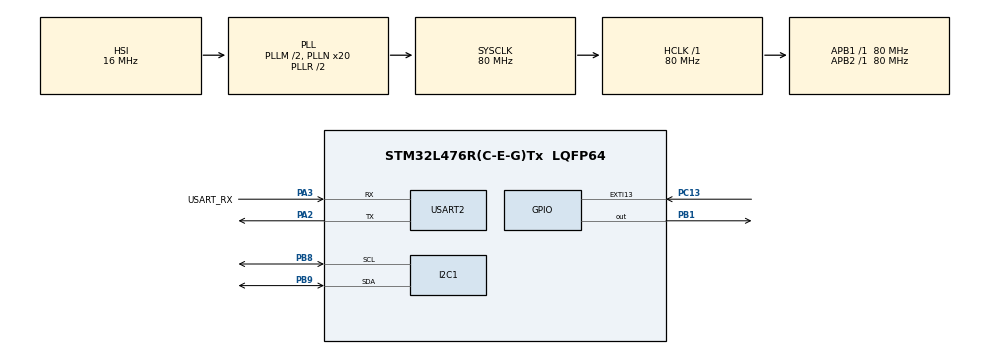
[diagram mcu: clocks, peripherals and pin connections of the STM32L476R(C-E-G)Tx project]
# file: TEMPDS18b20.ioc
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I2C1.Timing=0x10D19CE4
Mcu.Family=STM32L4
Mcu.Name=STM32L476R(C-E-G)Tx
Mcu.Package=LQFP64
NVIC.EXTI15_10_IRQn=true\:1\:0\:true\:false\:true\:true\:true\:true
NVIC.PriorityGroup=NVIC_PRIORITYGROUP_4
PA14\ (JTCK-SWCLK).GPIO_Label=TCK
PA14\ (JTCK-SWCLK).Signal=SYS_JTCK-SWCLK
PA2.Mode=Asynchronous
PA2.Signal=USART2_TX
PA3.GPIO_Label=USART_RX
PA3.GPIO_Mode=GPIO_MODE_AF_PP
PA3.GPIO_PuPd=GPIO_NOPULL
PA3.GPIO_Speed=GPIO_SPEED_FREQ_VERY_HIGH
PA3.Mode=Asynchronous
PA3.Signal=USART2_RX
PB1.Signal=GPIO_Output
PB3\ (JTDO-TRACESWO).GPIO_Label=SWO
PB3\ (JTDO-TRACESWO).Signal=SYS_JTDO-SWO
PB8.Mode=I2C
PB8.Signal=I2C1_SCL
PB9.Mode=I2C
PB9.Signal=I2C1_SDA
PC13.Signal=GPXTI13
ProjectManager.HeapSize=0x200
ProjectManager.StackSize=0x400
ProjectManager.TargetToolchain=STM32CubeIDE
RCC.ADCFreq_Value=32000000
RCC.AHBFreq_Value=80000000
RCC.APB1Freq_Value=80000000
RCC.APB1TimFreq_Value=80000000
RCC.APB2Freq_Value=80000000
RCC.APB2TimFreq_Value=80000000
RCC.CortexFreq_Value=80000000
RCC.HCLKFreq_Value=80000000
RCC.HSE_VALUE=8000000
RCC.HSI_VALUE=16000000
RCC.LSE_VALUE=32768
RCC.MSI_VALUE=4000000
RCC.PLLM=2
RCC.PLLN=20
RCC.PLLSourceVirtual=RCC_PLLSOURCE_HSI
RCC.PREFETCH_ENABLE=1
RCC.SYSCLKFreq_VALUE=80000000
RCC.SYSCLKSource=RCC_SYSCLKSOURCE_PLLCLK
RCC.USBFreq_Value=32000000
RCC.VCOOutputFreq_Value=160000000
USART2.VirtualMode-Asynchronous=VM_ASYNC
board=NUCLEO-L476RG

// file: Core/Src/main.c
/* USER CODE BEGIN Header */
/**
  ******************************************************************************
  * @file           : main.c
  * @brief          : Main program body
  ******************************************************************************
  * @attention
  *
  * Copyright (c) 2025 STMicroelectronics.
  * All rights reserved.
  *
  * This software is licensed under terms that can be found in the LICENSE file
  * in the root directory of this software component.
  * If no LICENSE file comes with this software, it is provided AS-IS.
  *
  ******************************************************************************
  */
/* USER CODE END Header */
#include "main.h"

/* USER CODE BEGIN Includes */
#include "main.h"
#include <stdio.h>
#include <string.h>
#include "liquidcrystal_i2c.h"

/* USER CODE END Includes */

/* USER CODE BEGIN PD */
#define DS_PORT GPIOB
#define DS_PIN  GPIO_PIN_1
/* USER CODE END PD */

/* USER CODE BEGIN PM */
uint8_t measure_flag = 0;
/* USER CODE END PM */

I2C_HandleTypeDef hi2c1;

UART_HandleTypeDef huart2;

/* USER CODE BEGIN PV */
char uart_rx_buffer[100]; // Buffer for received data
/* USER CODE END PV */

void SystemClock_Config(void);
static void MX_GPIO_Init(void);
static void MX_USART2_UART_Init(void);
static void MX_I2C1_Init(void);

/* USER CODE BEGIN 0 */

void UART_SEND_TXT(UART_HandleTypeDef *huart, char buffer[], int m) {
	HAL_UART_Transmit(huart, (uint8_t*) buffer, strlen(buffer), HAL_MAX_DELAY);
	if (m == 1) {
		const char crlf[] = "\r\n";
		HAL_UART_Transmit(huart, (uint8_t*) crlf, 2, HAL_MAX_DELAY);
	}
}

void UART_SEND_FLT(UART_HandleTypeDef *huart, float p, int m)
{
	char buffer[10];
	 sprintf(buffer, "%f", p);
	 HAL_UART_Transmit(huart, (uint8_t*) buffer, strlen(buffer), HAL_MAX_DELAY);
	 if (m == 1) {
	 		const char crlf[] = "\r\n";
	 		HAL_UART_Transmit(huart, (uint8_t*) crlf, 2, HAL_MAX_DELAY);
	 	}
}

void delay_us(uint16_t us) {
    uint32_t start = DWT->CYCCNT;
    uint32_t ticks = us * (HAL_RCC_GetHCLKFreq() / 1000000);
    while ((DWT->CYCCNT - start) < ticks);
}

void DWT_Init(void) {
    CoreDebug->DEMCR |= CoreDebug_DEMCR_TRCENA_Msk;
    DWT->CTRL |= DWT_CTRL_CYCCNTENA_Msk;
}

// --- 1-Wire функции ---
uint8_t OneWire_Reset(void) {
    uint8_t presence;
    GPIO_InitTypeDef GPIO_InitStruct = {0};

    // Тянем линию вниз 480 µs
    GPIO_InitStruct.Pin = DS_PIN;
    GPIO_InitStruct.Mode = GPIO_MODE_OUTPUT_PP;
    HAL_GPIO_Init(DS_PORT, &GPIO_InitStruct);
    HAL_GPIO_WritePin(DS_PORT, DS_PIN, GPIO_PIN_RESET);
    delay_us(480);

    // Отпускаем линию и ждём presence pulse
    GPIO_InitStruct.Mode = GPIO_MODE_INPUT;
    HAL_GPIO_Init(DS_PORT, &GPIO_InitStruct);
    delay_us(70);

    presence = !HAL_GPIO_ReadPin(DS_PORT, DS_PIN);
    delay_us(410);

    return presence;
}

void OneWire_WriteBit(uint8_t bit) {
    GPIO_InitTypeDef GPIO_InitStruct = {0};
    GPIO_InitStruct.Pin = DS_PIN;
    GPIO_InitStruct.Mode = GPIO_MODE_OUTPUT_PP;
    HAL_GPIO_Init(DS_PORT, &GPIO_InitStruct);
    HAL_GPIO_WritePin(DS_PORT, DS_PIN, GPIO_PIN_RESET);

    if (bit) {
        delay_us(5);
        GPIO_InitStruct.Mode = GPIO_MODE_INPUT;
        HAL_GPIO_Init(DS_PORT, &GPIO_InitStruct);
        delay_us(60);
    } else {
        delay_us(60);
        GPIO_InitStruct.Mode = GPIO_MODE_INPUT;
        HAL_GPIO_Init(DS_PORT, &GPIO_InitStruct);
    }
}

uint8_t OneWire_ReadBit(void) {
    uint8_t bit = 0;
    GPIO_InitTypeDef GPIO_InitStruct = {0};

    // pull low
    GPIO_InitStruct.Pin = DS_PIN;
    GPIO_InitStruct.Mode = GPIO_MODE_OUTPUT_PP;
    HAL_GPIO_Init(DS_PORT, &GPIO_InitStruct);
    HAL_GPIO_WritePin(DS_PORT, DS_PIN, GPIO_PIN_RESET);
    delay_us(3);

    // release
    GPIO_InitStruct.Mode = GPIO_MODE_INPUT;
    HAL_GPIO_Init(DS_PORT, &GPIO_InitStruct);
    delay_us(10);
    bit = HAL_GPIO_ReadPin(DS_PORT, DS_PIN);
    delay_us(50);

    return bit;
}

void OneWire_WriteByte(uint8_t data) {
    for (int i = 0; i < 8; i++) {
        OneWire_WriteBit(data & 0x01);
        data >>= 1;
    }
}

uint8_t OneWire_ReadByte(void) {
    uint8_t value = 0;
    for (int i = 0; i < 8; i++) {
        if (OneWire_ReadBit()) value |= (1 << i);
    }
    return value;
}

void HAL_GPIO_EXTI_Callback(uint16_t GPIO_Pin)
{
    if (GPIO_Pin == GPIO_PIN_13)
    {
        measure_flag = 1;  // Сигнализируем, что кнопку нажали
    }
}

/* USER CODE END 0 */

void MeasureAndDisplay(){
	char buffer[64];

	        OneWire_Reset();
	        OneWire_WriteByte(0xCC); // Skip ROM
	        OneWire_WriteByte(0x44); // Convert T

	        HAL_Delay(750); // ждать преобразование

	        OneWire_Reset();
	        OneWire_WriteByte(0xCC); // Skip ROM
	        OneWire_WriteByte(0xBE); // Read Scratchpad

	        uint8_t temp_l = OneWire_ReadByte();
	        uint8_t temp_h = OneWire_ReadByte();

	        int16_t rawTemp = (temp_h << 8) | temp_l;
	        float temperature = (float)rawTemp / 16.0f;

	        UART_SEND_TXT(&huart2, "Hallo", 1);

	        sprintf(buffer, "Temperature: %.2f °C\r\n", temperature);
	        HAL_UART_Transmit(&huart2, (uint8_t*)buffer, strlen(buffer), HAL_MAX_DELAY);

	        /* LCD output */

	        HD44780_Display();
	        HD44780_Backlight();
	        sprintf(buffer, "T = %.2f C   ", temperature);
	        HD44780_SetCursor(0, 1);
	        HD44780_PrintStr(buffer);

	        HAL_Delay(5000);
	        HD44780_NoDisplay();
	        HD44780_NoBacklight();
}

int main(void)
{

  /* MCU Configuration--------------------------------------------------------*/

  /* Reset of all peripherals, Initializes the Flash interface and the Systick. */
  HAL_Init();

  /* Configure the system clock */
  SystemClock_Config();

  /* Initialize all configured peripherals */
  MX_GPIO_Init();
  MX_USART2_UART_Init();
  MX_I2C1_Init();
  /* USER CODE BEGIN 2 */
  /* Initialize LCD (2 lines) */
  	HD44780_Init(2);
  	HD44780_Clear();
  	HD44780_SetCursor(0, 0);
  	HD44780_PrintStr("Temperature:");
  	HD44780_NoDisplay();
    HD44780_NoBacklight();

  /* USER CODE END 2 */

  /* Infinite loop */
  while (1)
  {

    /* USER CODE BEGIN 3 */
	  if (measure_flag)
	      {
	          measure_flag = 0;
	          /* Initialize LCD (2 lines) */
//	          HD44780_Init(2);
//	          HD44780_Clear();
//	          HD44780_SetCursor(0, 0);
//	          HD44780_PrintStr("Temperature:");
	          MeasureAndDisplay();
//	          HAL_Delay(5000);
	      }
	  // сон
	   HAL_SuspendTick();
	   HAL_PWR_EnterSTOPMode(PWR_LOWPOWERREGULATOR_ON, PWR_STOPENTRY_WFI);
	   HAL_ResumeTick();
	   SystemClock_Config(); // восстановление после пробуждения

    }
  /* USER CODE END 3 */
}

void SystemClock_Config(void)
{
  RCC_OscInitTypeDef RCC_OscInitStruct = {0};
  RCC_ClkInitTypeDef RCC_ClkInitStruct = {0};

  /** Configure the main internal regulator output voltage
  */
  if (HAL_PWREx_ControlVoltageScaling(PWR_REGULATOR_VOLTAGE_SCALE1) != HAL_OK)
  {
    Error_Handler();
  }

  /** Initializes the RCC Oscillators according to the specified parameters
  * in the RCC_OscInitTypeDef structure.
  */
  RCC_OscInitStruct.OscillatorType = RCC_OSCILLATORTYPE_HSI;
  RCC_OscInitStruct.HSIState = RCC_HSI_ON;
  RCC_OscInitStruct.HSICalibrationValue = RCC_HSICALIBRATION_DEFAULT;
  RCC_OscInitStruct.PLL.PLLState = RCC_PLL_ON;
  RCC_OscInitStruct.PLL.PLLSource = RCC_PLLSOURCE_HSI;
  RCC_OscInitStruct.PLL.PLLM = 2;
  RCC_OscInitStruct.PLL.PLLN = 20;
  RCC_OscInitStruct.PLL.PLLP = RCC_PLLP_DIV7;
  RCC_OscInitStruct.PLL.PLLQ = RCC_PLLQ_DIV2;
  RCC_OscInitStruct.PLL.PLLR = RCC_PLLR_DIV2;
  if (HAL_RCC_OscConfig(&RCC_OscInitStruct) != HAL_OK)
  {
    Error_Handler();
  }

  /** Initializes the CPU, AHB and APB buses clocks
  */
  RCC_ClkInitStruct.ClockType = RCC_CLOCKTYPE_HCLK|RCC_CLOCKTYPE_SYSCLK
                              |RCC_CLOCKTYPE_PCLK1|RCC_CLOCKTYPE_PCLK2;
  RCC_ClkInitStruct.SYSCLKSource = RCC_SYSCLKSOURCE_PLLCLK;
  RCC_ClkInitStruct.AHBCLKDivider = RCC_SYSCLK_DIV1;
  RCC_ClkInitStruct.APB1CLKDivider = RCC_HCLK_DIV1;
  RCC_ClkInitStruct.APB2CLKDivider = RCC_HCLK_DIV1;

  if (HAL_RCC_ClockConfig(&RCC_ClkInitStruct, FLASH_LATENCY_4) != HAL_OK)
  {
    Error_Handler();
  }
}

static void MX_I2C1_Init(void)
{

  hi2c1.Instance = I2C1;
  hi2c1.Init.Timing = 0x10D19CE4;
  hi2c1.Init.OwnAddress1 = 0;
  hi2c1.Init.AddressingMode = I2C_ADDRESSINGMODE_7BIT;
  hi2c1.Init.DualAddressMode = I2C_DUALADDRESS_DISABLE;
  hi2c1.Init.OwnAddress2 = 0;
  hi2c1.Init.OwnAddress2Masks = I2C_OA2_NOMASK;
  hi2c1.Init.GeneralCallMode = I2C_GENERALCALL_DISABLE;
  hi2c1.Init.NoStretchMode = I2C_NOSTRETCH_DISABLE;
  if (HAL_I2C_Init(&hi2c1) != HAL_OK)
  {
    Error_Handler();
  }

  /** Configure Analogue filter
  */
  if (HAL_I2CEx_ConfigAnalogFilter(&hi2c1, I2C_ANALOGFILTER_ENABLE) != HAL_OK)
  {
    Error_Handler();
  }

  /** Configure Digital filter
  */
  if (HAL_I2CEx_ConfigDigitalFilter(&hi2c1, 0) != HAL_OK)
  {
    Error_Handler();
  }

}

static void MX_USART2_UART_Init(void)
{

  huart2.Instance = USART2;
  huart2.Init.BaudRate = 9600;
  huart2.Init.WordLength = UART_WORDLENGTH_8B;
  huart2.Init.StopBits = UART_STOPBITS_1;
  huart2.Init.Parity = UART_PARITY_NONE;
  huart2.Init.Mode = UART_MODE_TX_RX;
  huart2.Init.HwFlowCtl = UART_HWCONTROL_NONE;
  huart2.Init.OverSampling = UART_OVERSAMPLING_16;
  huart2.Init.OneBitSampling = UART_ONE_BIT_SAMPLE_DISABLE;
  huart2.AdvancedInit.AdvFeatureInit = UART_ADVFEATURE_NO_INIT;
  if (HAL_UART_Init(&huart2) != HAL_OK)
  {
    Error_Handler();
  }

}

static void MX_GPIO_Init(void)
{
  GPIO_InitTypeDef GPIO_InitStruct = {0};

  /* GPIO Ports Clock Enable */
  __HAL_RCC_GPIOC_CLK_ENABLE();
  __HAL_RCC_GPIOA_CLK_ENABLE();
  __HAL_RCC_GPIOB_CLK_ENABLE();

  /*Configure GPIO pin Output Level */
  HAL_GPIO_WritePin(GPIOB, GPIO_PIN_1, GPIO_PIN_RESET);

  /*Configure GPIO pin : PC13 */
  GPIO_InitStruct.Pin = GPIO_PIN_13;
  GPIO_InitStruct.Mode = GPIO_MODE_IT_RISING;
  GPIO_InitStruct.Pull = GPIO_NOPULL;
  HAL_GPIO_Init(GPIOC, &GPIO_InitStruct);

  /*Configure GPIO pin : PB1 */
  GPIO_InitStruct.Pin = GPIO_PIN_1;
  GPIO_InitStruct.Mode = GPIO_MODE_OUTPUT_PP;
  GPIO_InitStruct.Pull = GPIO_NOPULL;
  GPIO_InitStruct.Speed = GPIO_SPEED_FREQ_LOW;
  HAL_GPIO_Init(GPIOB, &GPIO_InitStruct);

  /* EXTI interrupt init*/
  HAL_NVIC_SetPriority(EXTI15_10_IRQn, 1, 0);
  HAL_NVIC_EnableIRQ(EXTI15_10_IRQn);

}

void Error_Handler(void)
{
  __disable_irq();
  while (1)
  {
  }
}
